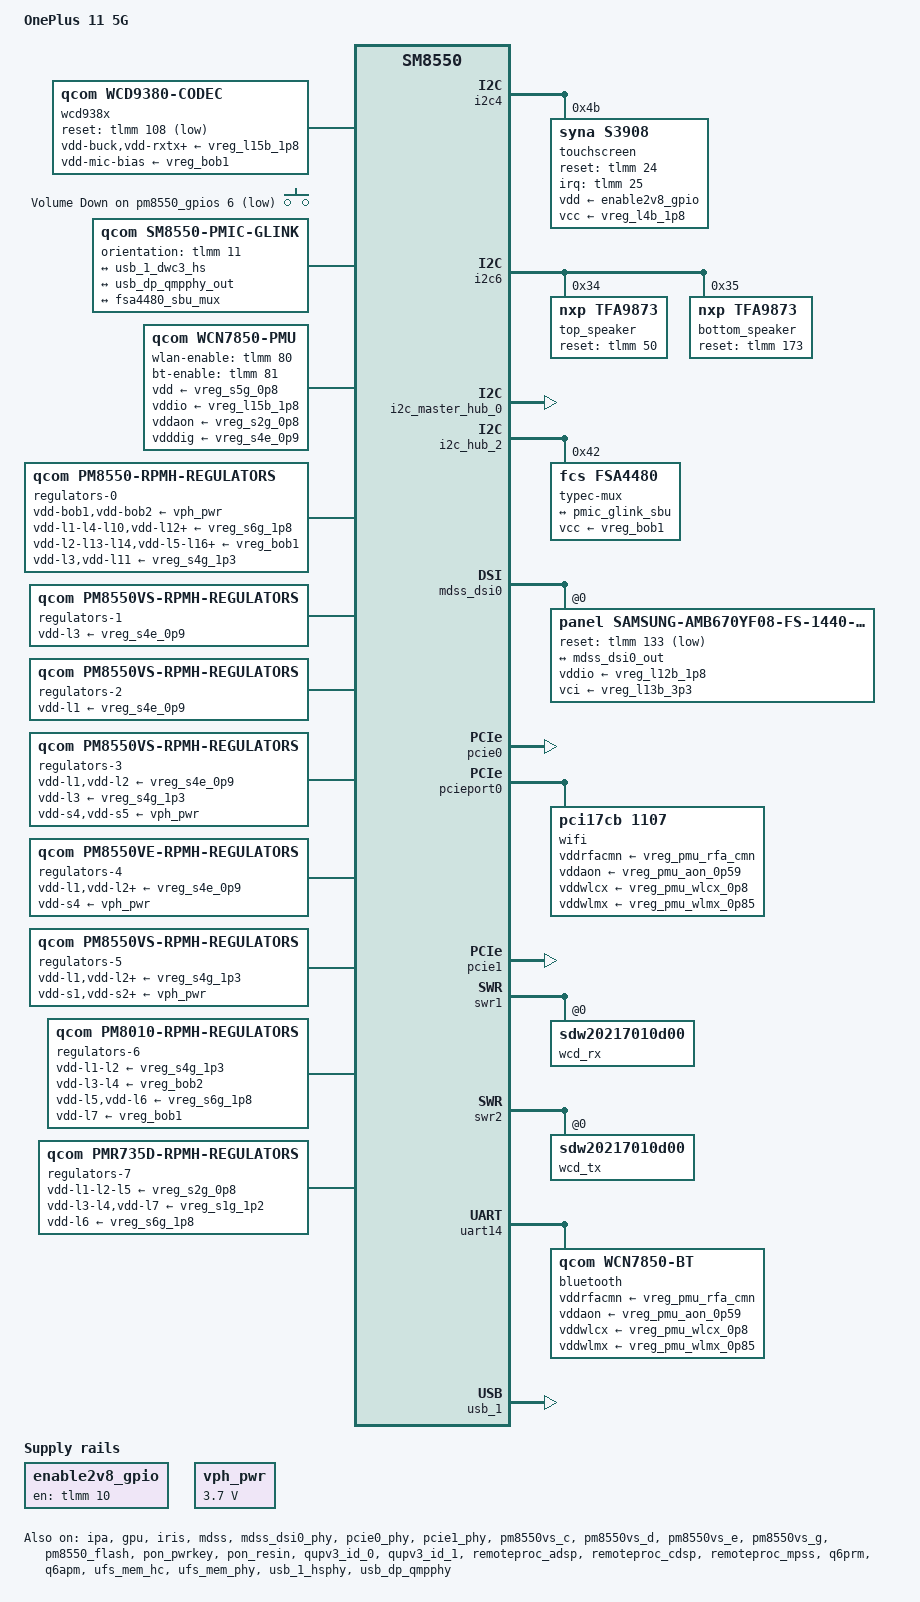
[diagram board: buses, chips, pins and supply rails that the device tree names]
// SPDX-License-Identifier: BSD-3-Clause
/*
 * Copyright (c) 2024, Degdag Mohamed <degdagmohamed@gmail.com>
 */

/dts-v1/;

#include <dt-bindings/regulator/qcom,rpmh-regulator.h>
#include <dt-bindings/interconnect/qcom,icc.h>
#include <dt-bindings/leds/common.h>
#include <dt-bindings/arm/qcom,ids.h>
#include <dt-bindings/usb/pd.h>
#include "sm8550.dtsi"
#include "pm8010.dtsi"
#include "pm8550.dtsi"
#include "pm8550b.dtsi"
#define PMK8550VE_SID 5
#include "pm8550ve.dtsi"
#include "pm8550vs.dtsi"
#include "pmk8550.dtsi"

/delete-node/ &reserved_memory;

/ {
	model = "OnePlus 11 5G";
	compatible = "oneplus,salami", "qcom,sm8550";
	chassis-type = "handset";
	qcom,msm-id = <0x207 0x20000 0x207 0x10000 0x218 0x20000 0x218 0x10000>;
	qcom,board-id = <0x10008 0>;

	aliases {
		serial0 = &uart7;
		serial1 = &uart14;
	};
	
	enable2v8_gpio: enable2v8_gpio-regulator {
		compatible = "regulator-fixed";
		regulator-name = "enable2v8_gpio";
		gpio = <&tlmm 10 GPIO_ACTIVE_HIGH>;
		enable-active-high;
		regulator-always-on;
		regulator-boot-on;
	};

	wcd938x: audio-codec {
		compatible = "qcom,wcd9380-codec";
		pinctrl-names = "default";
		pinctrl-0 = <&wcd_default>;
		qcom,micbias1-microvolt = <2750000>;
		qcom,micbias2-microvolt = <2750000>;
		qcom,micbias3-microvolt = <2750000>;
		qcom,micbias4-microvolt = <2750000>;
		qcom,mbhc-buttons-vthreshold-microvolt = <75000 150000 237000 500000 500000 500000 500000 500000>;
		qcom,mbhc-headset-vthreshold-microvolt = <1700000>;
		qcom,mbhc-headphone-vthreshold-microvolt = <50000>;
		qcom,rx-device = <&wcd_rx>;
		qcom,tx-device = <&wcd_tx>;
		reset-gpios = <&tlmm 108 GPIO_ACTIVE_LOW>;
		vdd-buck-supply = <&vreg_l15b_1p8>;
		vdd-rxtx-supply = <&vreg_l15b_1p8>;
		vdd-io-supply = <&vreg_l15b_1p8>;
		vdd-mic-bias-supply = <&vreg_bob1>;
		#sound-dai-cells = <1>;
	};
	
	chosen {
		#address-cells = <2>;
		#size-cells = <2>;
		ranges;
	};

	gpio-keys {
		compatible = "gpio-keys";

		pinctrl-0 = <&volume_down_n>;
		pinctrl-names = "default";

		key-volume-down {
			label = "Volume Down";
			linux,code = <KEY_VOLUMEDOWN>;
			gpios = <&pm8550_gpios 6 GPIO_ACTIVE_LOW>;
			debounce-interval = <15>;
			linux,can-disable;
			wakeup-source;
		};
	};

	pmic-glink {
		compatible = "qcom,sm8550-pmic-glink", "qcom,pmic-glink";
		#address-cells = <1>;
		#size-cells = <0>;
		orientation-gpios = <&tlmm 11 GPIO_ACTIVE_HIGH>;

		connector@0 {
			compatible = "usb-c-connector";
			reg = <0>;
			power-role = "dual";
			data-role = "dual";

			ports {
				#address-cells = <1>;
				#size-cells = <0>;

				port@0 {
					reg = <0>;

					pmic_glink_hs_in: endpoint {
						remote-endpoint = <&usb_1_dwc3_hs>;
					};
				};

				port@1 {
					reg = <1>;

					pmic_glink_ss_in: endpoint {
						remote-endpoint = <&usb_dp_qmpphy_out>;
					};
				};

				port@2 {
					reg = <2>;

					pmic_glink_sbu: endpoint {
						remote-endpoint = <&fsa4480_sbu_mux>;
					};
				};
			};
		};
	};
	
		reserved-memory {
		#address-cells = <2>;
		#size-cells = <2>;
		ranges;
		
		hyp_mem: hyp-region@80000000 {
			no-map;
			reg = <0x00 0x80000000 0x00 0xa00000>;
		};

		cpusys_vm_mem: cpusys-vm-region@80a00000 {
			no-map;
			reg = <0x00 0x80a00000 0x00 0x400000>;
		};

		/* --- ADD THESE THREE HYP LOG WINDOWS HERE --- */
		hyp_tags_mem: hyp-tags-region@80e00000 {
			no-map;
			reg = <0 0x80e00000 0 0x3d0000>;
		};

		hyp_tags_reserved_mem: hyp-tags-reserved-region@811d0000 {
			no-map;
			reg = <0 0x811d0000 0 0x30000>;
		};

		global_sync_mem: global-sync-region@82600000 {
			no-map;
			reg = <0 0x82600000 0 0x100000>;
		};

		xbl_dt_log_merged_mem: xbl-dt-log-merged-region@81a00000 {
			no-map;
			reg = <0x00 0x81a00000 0x00 0x260000>;
		};

		aop_cmd_db_mem: aop-cmd-db-region@81c60000 {
			compatible = "qcom,cmd-db";
			no-map;
			reg = <0x00 0x81c60000 0x00 0x20000>;
		};

		aop_config_merged_mem: aop-config-merged-region@81c80000 {
			no-map;
			reg = <0x00 0x81c80000 0x00 0x74000>;
		};
		
		chipinfo_region: chipinfo-region@81cf4000 {
			no-map;
			reg = <0x00 0x81cf4000 0x00 0x1000>;
		};

		smem: smem@81d00000 {
			no-map;
			reg = <0x00 0x81d00000 0x00 0x200000>;
			hwlocks = <&tcsr_mutex 3>;
			compatible = "qcom,smem";
		};

		adsp_mhi_mem: adsp-mhi-region@81f00000 {
			no-map;
			reg = <0x00 0x81f00000 0x00 0x20000>;
		};
		
		tz_stat_region: tz-stat-region@82700000 {
			no-map;
			reg = <0x00 0x82700000 0x00 0x100000>;
		};
		
		mpss_mem: mpss-region@8a800000 {
			no-map;
			reg = <0x00 0x8a800000 0x00 0x10800000>;
		};

		q6_mpss_dtb_mem: q6-mpss-dtb-region@9b000000 {
			no-map;
			reg = <0x00 0x9b000000 0x00 0x80000>;
		};

		ipa_fw_mem: ipa-fw-region@9b080000 {
			no-map;
			reg = <0x00 0x9b080000 0x00 0x10000>;
		};

		ipa_gsi_mem: ipa-gsi-region@9b090000 {
			no-map;
			reg = <0x00 0x9b090000 0x00 0xa000>;
		};

		gpu_micro_code_mem: gpu-micro-code-region@9b09a000 {
			no-map;
			reg = <0x00 0x9b09a000 0x00 0x2000>;
		};

		/* --- ADD THESE TWO SECURE MODEM INTERFACES HERE --- */
		spu_tz_shared_mem: spu-tz-shared-region@9b280000 {
			no-map;
			reg = <0 0x9b280000 0 0x60000>;
		};

		spu_modem_shared_mem: spu-modem-shared-region@9b2e0000 {
			no-map;
			reg = <0 0x9b2e0000 0 0x20000>;
		};
		
		video_mem: video-region@9bb00000 {
			no-map;
			reg = <0x00 0x9bb00000 0x00 0x700000>;
		};

		cdsp_mem: cdsp-region@9c900000 {
			no-map;
			reg = <0x00 0x9c900000 0x00 0x2000000>;
		};

		q6_cdsp_dtb_mem: q6-cdsp-dtb-region@9e900000 {
			no-map;
			reg = <0x00 0x9e900000 0x00 0x80000>;
		};

		q6_adsp_dtb_mem: q6-adsp-dtb-region@9e980000 {
			no-map;
			reg = <0x00 0x9e980000 0x00 0x80000>;
		};

		adspslpi_mem: adspslpi-region@9ea00000 {
			no-map;
			reg = <0x00 0x9ea00000 0x00 0x4880000>;
		};

		mpss_dsm_mem: mpss-dsm-region@d4d00000 {
			no-map;
			reg = <0x00 0xd4d00000 0x00 0x3300000>;
		};

		xbl_sc_mem: xbl-sc-region@d8100000 {
			no-map;
			reg = <0x00 0xd8100000 0x00 0x40000>;
		};

		cpucp_fw_mem: cpucp-fw-region@d8140000 {
			no-map;
			reg = <0x00 0xd8140000 0x00 0x1c0000>;
		};

		qtee_mem: qtee-region@d8300000 {
			no-map;
			reg = <0x00 0xd8300000 0x00 0x500000>;
		};

		hwfence_shbuf: hwfence-shbuf-region@e6440000 {
			no-map;
			reg = <0x00 0xe6440000 0x00 0x2dd000>;
		};

		rmtfs_mem: rmtfs-region@e8100000 {
			compatible = "qcom,rmtfs-mem";
			reg = <0x0 0xe8100000 0x0 0x280000>;
			no-map;

			qcom,client-id = <1>;
			qcom,vmid = <QCOM_SCM_VMID_MSS_MSA>;
		};
	};

	
	sound {
		compatible = "qcom,sm8550-sndcard", "qcom,sm8450-sndcard";
		pinctrl-0 = <&i2s1_default>;
		pinctrl-names = "default";

		clocks = <&q6prmcc LPASS_CLK_ID_SEC_MI2S_IBIT LPASS_CLK_ATTRIBUTE_COUPLE_NO>;
		assigned-clocks = <&q6prmcc LPASS_CLK_ID_SEC_MI2S_IBIT LPASS_CLK_ATTRIBUTE_COUPLE_NO>;
		assigned-clock-rates = <1536000>;

		model = "astonsnd";
		audio-routing = "IN1_HPHL", "HPHL_OUT",
				"IN2_HPHR", "HPHR_OUT",
				"AMIC1", "MIC BIAS1",
				"AMIC2", "MIC BIAS2",
				"AMIC3", "MIC BIAS3",
				"AMIC4", "MIC BIAS4",
				"AMIC5", "MIC BIAS3",
				"TX SWR_INPUT0", "ADC1_OUTPUT",
				"TX SWR_INPUT1", "ADC2_OUTPUT",
				"TX SWR_INPUT0", "ADC3_OUTPUT",
				"TX SWR_INPUT1", "ADC4_OUTPUT";
		wcd-playback-dai-link {
			link-name = "WCD Playback";
			cpu {
				sound-dai = <&q6apmbedai RX_CODEC_DMA_RX_0>;
			};
			codec {
				sound-dai = <&wcd938x 0>, <&swr1 0>, <&lpass_rxmacro 0>;
			};
			platform {
				sound-dai = <&q6apm>;
			};
		};

		wcd-capture-dai-link {
			link-name = "WCD Capture";
			cpu {
				sound-dai = <&q6apmbedai TX_CODEC_DMA_TX_3>;
			};
			codec {
				sound-dai = <&wcd938x 1>, <&swr2 0>, <&lpass_txmacro 0>;
			};
			platform {
				sound-dai = <&q6apm>;
			};
		};

		secondary-i2s-dai-link {
			link-name = "Secondary MI2S Playback";

			cpu {
				sound-dai = <&q6apmbedai SECONDARY_MI2S_RX>;
			};

			platform {
				sound-dai = <&q6apm>;
			};

			codec {
				sound-dai = <&top_speaker>, <&bottom_speaker>;
			};
		};
	};
	
	vph_pwr: vph-pwr-regulator {
		compatible = "regulator-fixed";
		regulator-name = "vph_pwr";
		regulator-min-microvolt = <3700000>;
		regulator-max-microvolt = <3700000>;

		regulator-always-on;
		regulator-boot-on;
	};
	
	wcn7850-pmu {
		compatible = "qcom,wcn7850-pmu";

		pinctrl-names = "default";
		pinctrl-0 = <&wlan_en>, <&bt_default>, <&pmk8550_sleep_clk>;

		wlan-enable-gpios = <&tlmm 80 GPIO_ACTIVE_HIGH>;
		bt-enable-gpios = <&tlmm 81 GPIO_ACTIVE_HIGH>;

		vdd-supply = <&vreg_s5g_0p8>;
		vddio-supply = <&vreg_l15b_1p8>; 
		vddaon-supply = <&vreg_s2g_0p8>;
		vdddig-supply = <&vreg_s4e_0p9>;
		vddrfa1p2-supply = <&vreg_s4g_1p3>;
		vddrfa1p8-supply = <&vreg_s6g_1p8>;

		regulators {
			vreg_pmu_rfa_cmn: ldo0 {
				regulator-name = "vreg_pmu_rfa_cmn";
			};

			vreg_pmu_aon_0p59: ldo1 {
				regulator-name = "vreg_pmu_aon_0p59";
			};

			vreg_pmu_wlcx_0p8: ldo2 {
				regulator-name = "vreg_pmu_wlcx_0p8";
			};

			vreg_pmu_wlmx_0p85: ldo3 {
				regulator-name = "vreg_pmu_wlmx_0p85";
			};

			vreg_pmu_btcmx_0p85: ldo4 {
				regulator-name = "vreg_pmu_btcmx_0p85";
			};

			vreg_pmu_rfa_0p8: ldo5 {
				regulator-name = "vreg_pmu_rfa_0p8";
			};

			vreg_pmu_rfa_1p2: ldo6 {
				regulator-name = "vreg_pmu_rfa_1p2";
			};

			vreg_pmu_rfa_1p8: ldo7 {
				regulator-name = "vreg_pmu_rfa_1p8";
			};

			vreg_pmu_pcie_0p9: ldo8 {
				regulator-name = "vreg_pmu_pcie_0p9";
			};

			vreg_pmu_pcie_1p8: ldo9 {
				regulator-name = "vreg_pmu_pcie_1p8";
			};
		};
	};
};

&apps_rsc {
	regulators-0 {
		compatible = "qcom,pm8550-rpmh-regulators";
		qcom,pmic-id = "b";

		vdd-bob1-supply = <&vph_pwr>;
		vdd-bob2-supply = <&vph_pwr>;
		vdd-l1-l4-l10-supply = <&vreg_s6g_1p8>;
		vdd-l2-l13-l14-supply = <&vreg_bob1>;
		vdd-l3-supply = <&vreg_s4g_1p3>;
		vdd-l5-l16-supply = <&vreg_bob1>;
		vdd-l6-l7-supply = <&vreg_bob1>;
		vdd-l8-l9-supply = <&vreg_bob1>;
		vdd-l11-supply = <&vreg_s4g_1p3>;
		vdd-l12-supply = <&vreg_s6g_1p8>;
		vdd-l15-supply = <&vreg_s6g_1p8>;
		vdd-l17-supply = <&vreg_bob2>;

		vreg_bob1: bob1 {
			regulator-name = "vreg_bob1";
			regulator-min-microvolt = <3008000>;
			regulator-max-microvolt = <3960000>;
			regulator-initial-mode = <RPMH_REGULATOR_MODE_HPM>;
		};

		vreg_bob2: bob2 {
			regulator-name = "vreg_bob2";
			regulator-min-microvolt = <2704000>;
			regulator-max-microvolt = <3008000>;
			regulator-initial-mode = <RPMH_REGULATOR_MODE_HPM>;
		};

		vreg_l1b_1p8: ldo1 {
			regulator-name = "vreg_l1b_1p8";
			regulator-min-microvolt = <1800000>;
			regulator-max-microvolt = <1800000>;
			regulator-initial-mode = <RPMH_REGULATOR_MODE_HPM>;
		};

		vreg_l2b_3p0: ldo2 {
			regulator-name = "vreg_l2b_3p0";
			regulator-min-microvolt = <3008000>;
			regulator-max-microvolt = <3008000>;
			regulator-initial-mode = <RPMH_REGULATOR_MODE_HPM>;
		};

		vreg_l4b_1p8: ldo4 {
			regulator-name = "vreg_l4b_1p8";
			regulator-min-microvolt = <1800000>;
			regulator-max-microvolt = <1800000>;
			regulator-initial-mode = <RPMH_REGULATOR_MODE_HPM>;
		};

		vreg_l5b_3p1: ldo5 {
			regulator-name = "vreg_l5b_3p1";
			regulator-min-microvolt = <3104000>;
			regulator-max-microvolt = <3104000>;
			regulator-initial-mode = <RPMH_REGULATOR_MODE_HPM>;
		};

		vreg_l6b_1p8: ldo6 {
			regulator-name = "vreg_l6b_1p8";
			regulator-min-microvolt = <1800000>;
			regulator-max-microvolt = <3008000>;
			regulator-initial-mode = <RPMH_REGULATOR_MODE_HPM>;
		};

		vreg_l7b_1p8: ldo7 {
			regulator-name = "vreg_l7b_1p8";
			regulator-min-microvolt = <1800000>;
			regulator-max-microvolt = <3008000>;
			regulator-initial-mode = <RPMH_REGULATOR_MODE_HPM>;
		};

		vreg_l8b_1p8: ldo8 {
			regulator-name = "vreg_l8b_1p8";
			regulator-min-microvolt = <1800000>;
			regulator-max-microvolt = <1800000>;
			regulator-initial-mode = <RPMH_REGULATOR_MODE_HPM>;
			regulator-always-on;
			regulator-boot-on;
		};

		vreg_l9b_3p3: ldo9 {
			regulator-name = "vreg_l9b_3p3";
			regulator-min-microvolt = <2960000>;
			regulator-max-microvolt = <3008000>;
			regulator-initial-mode = <RPMH_REGULATOR_MODE_HPM>;
		};

		vreg_l10b_1p8: ldo10 {
			regulator-name = "vreg_l10b_1p8";
			regulator-min-microvolt = <1800000>;
			regulator-max-microvolt = <1800000>;
			regulator-initial-mode = <RPMH_REGULATOR_MODE_HPM>;
			regulator-always-on;
		};

		vreg_l11b_1p2: ldo11 {
			regulator-name = "vreg_l11b_1p2";
			regulator-min-microvolt = <1200000>;
			regulator-max-microvolt = <1504000>;
			regulator-initial-mode = <RPMH_REGULATOR_MODE_HPM>;
		};

		vreg_l12b_1p8: ldo12 {
			regulator-name = "vreg_l12b_1p8";
			regulator-min-microvolt = <1800000>;
			regulator-max-microvolt = <1800000>;
			regulator-initial-mode = <RPMH_REGULATOR_MODE_HPM>;
		};

		vreg_l13b_3p3: ldo13 {
			regulator-name = "vreg_l13b_3p3";
			regulator-min-microvolt = <3000000>;
			regulator-max-microvolt = <3200000>;
			regulator-initial-mode = <RPMH_REGULATOR_MODE_HPM>;
		};

		vreg_l14b_3p2: ldo14 {
			regulator-name = "vreg_l14b_3p2";
			regulator-min-microvolt = <2800000>;
			regulator-max-microvolt = <3200000>;
			regulator-initial-mode = <RPMH_REGULATOR_MODE_HPM>;
		};
		
		vreg_l15b_1p8: ldo15 {
			regulator-name = "vreg_l15b_1p8";
			regulator-min-microvolt = <1800000>;
			regulator-max-microvolt = <1800000>;
			regulator-initial-mode = <RPMH_REGULATOR_MODE_HPM>;
		};

		vreg_l16b_2p8: ldo16 {
			regulator-name = "vreg_l16b_2p8";
			regulator-min-microvolt = <2800000>;
			regulator-max-microvolt = <2800000>;
			regulator-initial-mode = <RPMH_REGULATOR_MODE_HPM>;
		};

		vreg_l17b_2p5: ldo17 {
			regulator-name = "vreg_l17b_2p5";
			regulator-min-microvolt = <2504000>;
			regulator-max-microvolt = <2504000>;
			regulator-initial-mode = <RPMH_REGULATOR_MODE_HPM>;
		};
	};

	regulators-1 {
		compatible = "qcom,pm8550vs-rpmh-regulators";
		qcom,pmic-id = "c";

		vdd-l3-supply = <&vreg_s4e_0p9>;
		
		
		vreg_l1c_0p91: ldo1 {
			regulator-name = "vreg_l1c_0p9";
			regulator-min-microvolt = <1200000>;
			regulator-max-microvolt = <1200000>;
			regulator-initial-mode = <RPMH_REGULATOR_MODE_HPM>;
		};

		vreg_l3c_0p91: ldo3 {
			regulator-name = "vreg_l3c_0p9";
			regulator-min-microvolt = <880000>;
			regulator-max-microvolt = <912000>;
			regulator-initial-mode = <RPMH_REGULATOR_MODE_HPM>;
		};
	};

	regulators-2 {
		compatible = "qcom,pm8550vs-rpmh-regulators";
		qcom,pmic-id = "d";

		vdd-l1-supply = <&vreg_s4e_0p9>;

		vreg_l1d_0p88: ldo1 {
			regulator-name = "vreg_l1d_0p88";
			regulator-min-microvolt = <880000>;
			regulator-max-microvolt = <920000>;
			regulator-initial-mode = <RPMH_REGULATOR_MODE_HPM>;
		};
	};

	regulators-3 {
		compatible = "qcom,pm8550vs-rpmh-regulators";
		qcom,pmic-id = "e";

		vdd-l1-supply = <&vreg_s4e_0p9>;
		vdd-l2-supply = <&vreg_s4e_0p9>;
		vdd-l3-supply = <&vreg_s4g_1p3>;
		vdd-s4-supply = <&vph_pwr>;
		vdd-s5-supply = <&vph_pwr>;

		vreg_s4e_0p9: smps4 {
			regulator-name = "vreg_s4e_0p9";
			regulator-min-microvolt = <904000>;
			regulator-max-microvolt = <984000>;
			regulator-initial-mode = <RPMH_REGULATOR_MODE_HPM>;
		};

		vreg_s5e_1p1: smps5 {
			regulator-name = "vreg_s5e_1p1";
			regulator-min-microvolt = <1008000>;
			regulator-max-microvolt = <1120000>;
			regulator-initial-mode = <RPMH_REGULATOR_MODE_HPM>;
		};

		vreg_l1e_0p88: ldo1 {
			regulator-name = "vreg_l1e_0p88";
			regulator-min-microvolt = <880000>;
			regulator-max-microvolt = <912000>;
			regulator-initial-mode = <RPMH_REGULATOR_MODE_HPM>;
		};

		vreg_l2e_0p9: ldo2 {
			regulator-name = "vreg_l2e_0p9";
			regulator-min-microvolt = <864000>;
			regulator-max-microvolt = <970000>;
			regulator-initial-mode = <RPMH_REGULATOR_MODE_HPM>;
		};

		vreg_l3e_1p2: ldo3 {
			regulator-name = "vreg_l3e_1p2";
			regulator-min-microvolt = <1200000>;
			regulator-max-microvolt = <1200000>;
			regulator-initial-mode = <RPMH_REGULATOR_MODE_HPM>;
		};
	};

	regulators-4 {
		compatible = "qcom,pm8550ve-rpmh-regulators";
		qcom,pmic-id = "f";

		vdd-l1-supply = <&vreg_s4e_0p9>;
		vdd-l2-supply = <&vreg_s4e_0p9>;
		vdd-l3-supply = <&vreg_s4e_0p9>;
		vdd-s4-supply = <&vph_pwr>;

		vreg_s4f_0p5: smps4 {
			regulator-name = "vreg_s4f_0p5";
			regulator-min-microvolt = <300000>;
			regulator-max-microvolt = <700000>;
			regulator-initial-mode = <RPMH_REGULATOR_MODE_HPM>;
		};

		vreg_l1f_0p9: ldo1 {
			regulator-name = "vreg_l1f_0p9";
			regulator-min-microvolt = <880000>;
			regulator-max-microvolt = <912000>;
			regulator-initial-mode = <RPMH_REGULATOR_MODE_HPM>;
		};

		vreg_l2f_0p88: ldo2 {
			regulator-name = "vreg_l2f_0p88";
			regulator-min-microvolt = <880000>;
			regulator-max-microvolt = <912000>;
			regulator-initial-mode = <RPMH_REGULATOR_MODE_HPM>;
		};

		vreg_l3f_0p91: ldo3 {
			regulator-name = "vreg_l3f_0p91";
			regulator-min-microvolt = <880000>;
			regulator-max-microvolt = <912000>;
			regulator-initial-mode = <RPMH_REGULATOR_MODE_HPM>;
		};
	};

	regulators-5 {
		compatible = "qcom,pm8550vs-rpmh-regulators";
		qcom,pmic-id = "g";

		vdd-l1-supply = <&vreg_s4g_1p3>;
		vdd-l2-supply = <&vreg_s4g_1p3>;
		vdd-l3-supply = <&vreg_s4g_1p3>;
		vdd-s1-supply = <&vph_pwr>;
		vdd-s2-supply = <&vph_pwr>;
		vdd-s3-supply = <&vph_pwr>;
		vdd-s4-supply = <&vph_pwr>;
		vdd-s5-supply = <&vph_pwr>;
		vdd-s6-supply = <&vph_pwr>;

		vreg_s1g_1p2: smps1 {
			regulator-name = "vreg_s1g_1p2";
			regulator-min-microvolt = <1200000>;
			regulator-max-microvolt = <1300000>;
			regulator-initial-mode = <RPMH_REGULATOR_MODE_HPM>;
		};

		vreg_s2g_0p8: smps2 {
			regulator-name = "vreg_s2g_0p8";
			regulator-min-microvolt = <500000>;
			regulator-max-microvolt = <1036000>;
			regulator-initial-mode = <RPMH_REGULATOR_MODE_HPM>;
		};

		vreg_s4g_1p3: smps4 {
			regulator-name = "vreg_s4g_1p3";
			regulator-min-microvolt = <1200000>;
			regulator-max-microvolt = <1352000>;
			regulator-initial-mode = <RPMH_REGULATOR_MODE_HPM>;
		};

		vreg_s5g_0p8: smps5 {
			regulator-name = "vreg_s5g_0p8";
			regulator-min-microvolt = <500000>;
			regulator-max-microvolt = <1004000>;
			regulator-initial-mode = <RPMH_REGULATOR_MODE_HPM>;
		};

		vreg_s6g_1p8: smps6 {
			regulator-name = "vreg_s6g_1p8";
			regulator-min-microvolt = <1800000>;
			regulator-max-microvolt = <2000000>;
			regulator-initial-mode = <RPMH_REGULATOR_MODE_HPM>;
		};

		vreg_l1g_1p2: ldo1 {
			regulator-name = "vreg_l1g_1p2";
			regulator-min-microvolt = <1144000>;
			regulator-max-microvolt = <1256000>;
			regulator-initial-mode = <RPMH_REGULATOR_MODE_HPM>;
		};

		vreg_l2g_1p2: ldo2 {
			regulator-name = "vreg_l2g_1p2";
			regulator-min-microvolt = <1050000>;
			regulator-max-microvolt = <1200000>;
			regulator-initial-mode = <RPMH_REGULATOR_MODE_HPM>;
		};

		vreg_l3g_1p2: ldo3 {
			regulator-name = "vreg_l3g_1p2";
			regulator-min-microvolt = <1200000>;
			regulator-max-microvolt = <1200000>;
			regulator-initial-mode = <RPMH_REGULATOR_MODE_HPM>;
		};
	};

	regulators-6 {
		compatible = "qcom,pm8010-rpmh-regulators";
		qcom,pmic-id = "m";

		vdd-l1-l2-supply = <&vreg_s4g_1p3>;
		vdd-l3-l4-supply = <&vreg_bob2>;
		vdd-l5-supply = <&vreg_s6g_1p8>;
		vdd-l6-supply = <&vreg_s6g_1p8>;
		vdd-l7-supply = <&vreg_bob1>;

		vreg_l1m_1p2: ldo1 {
			regulator-name = "vreg_l1m_1p2";
			regulator-min-microvolt = <1200000>;
			regulator-max-microvolt = <1200000>;
			regulator-initial-mode = <RPMH_REGULATOR_MODE_HPM>;
		};

		vreg_l2m_1p08: ldo2 {
			regulator-name = "vreg_l2m_1p08";
			regulator-min-microvolt = <1200000>;
			regulator-max-microvolt = <1200000>;
			regulator-initial-mode = <RPMH_REGULATOR_MODE_HPM>;
			regulator-always-on;
		};

		vreg_l3m_2p8: ldo3 {
			regulator-name = "vreg_l3m_2p8";
			regulator-min-microvolt = <2200000>;
			regulator-max-microvolt = <3304000>;
			regulator-initial-mode = <RPMH_REGULATOR_MODE_HPM>;
			
		};

		vreg_l4m_2p8: ldo4 {
			regulator-name = "vreg_l4m_2p8";
			regulator-min-microvolt = <1800000>;
			regulator-max-microvolt = <3304000>;
			regulator-initial-mode = <RPMH_REGULATOR_MODE_HPM>;
		};

		vreg_l5m_1p8: ldo5 {
			regulator-name = "vreg_l5m_1p8";
			regulator-min-microvolt = <1800000>;
			regulator-max-microvolt = <1800000>;
			regulator-initial-mode = <RPMH_REGULATOR_MODE_HPM>;
		};

		vreg_l6m_2p8: ldo6 {
			regulator-name = "vreg_l6m_2p8";
			regulator-min-microvolt = <2848000>;
			regulator-max-microvolt = <2848000>;
			regulator-initial-mode = <RPMH_REGULATOR_MODE_HPM>;
			regulator-always-on;
		};

		vreg_l7m_2p85: ldo7 {
			regulator-name = "vreg_l7m_2p85";
			regulator-min-microvolt = <1800000>;
			regulator-max-microvolt = <3152000>;
			regulator-initial-mode = <RPMH_REGULATOR_MODE_HPM>;
		};
	};
	
	regulators-7 {
		compatible = "qcom,pmr735d-rpmh-regulators";
		qcom,pmic-id = "k";

		vdd-l1-l2-l5-supply = <&vreg_s2g_0p8>;
		vdd-l3-l4-supply = <&vreg_s1g_1p2>;
		vdd-l6-supply  = <&vreg_s6g_1p8>;
		vdd-l7-supply = <&vreg_s1g_1p2>;

		vreg_l1k_0p4: ldo1 {
			regulator-name = "vreg_l1k_0p4";
			regulator-min-microvolt = <400000>;
			regulator-max-microvolt = <900000>;
			regulator-initial-mode = <RPMH_REGULATOR_MODE_HPM>;
		};

		vreg_l2k_0p5: ldo2 {
			regulator-name = "vreg_l2k_0p5";
			regulator-min-microvolt = <500000>;
			regulator-max-microvolt = <900000>;
			regulator-initial-mode = <RPMH_REGULATOR_MODE_HPM>;
		};

		vreg_l3k_0p88: ldo3 {
			regulator-name = "vreg_l3k_0p88";
			regulator-min-microvolt = <880000>;
			regulator-max-microvolt = <912000>;
			regulator-initial-mode = <RPMH_REGULATOR_MODE_HPM>;
		};

		vreg_l4k_1p2: ldo4 {
			regulator-name = "vreg_l4k_1p2";
			regulator-min-microvolt = <1200000>;
			regulator-max-microvolt = <1200000>;
			regulator-initial-mode = <RPMH_REGULATOR_MODE_HPM>;
		};

		vreg_l5k_0p8: ldo5 {
			regulator-name = "vreg_l5k_0p8";
			regulator-min-microvolt = <800000>;
			regulator-max-microvolt = <800000>;
			regulator-initial-mode = <RPMH_REGULATOR_MODE_HPM>;
		};

		vreg_l6k_1p77: ldo6 {
			regulator-name = "vreg_l6k_1p77";
			regulator-min-microvolt = <1776000>;
			regulator-max-microvolt = <1900000>;
			regulator-initial-mode = <RPMH_REGULATOR_MODE_HPM>;
		};

		vreg_l7k_1p2: ldo7 {
			regulator-name = "vreg_l7k_1p2";
			regulator-min-microvolt = <1200000>;
			regulator-max-microvolt = <1200000>;
			regulator-initial-mode = <RPMH_REGULATOR_MODE_HPM>;
		};
	};
};

&ipa {
	qcom,gsi-loader = "self";
	memory-region = <&ipa_fw_mem>;
	firmware-name = "qcom/sm8550/salami/ipa_fws.mbn";
	status = "okay";
};

&gpi_dma1 {
	status = "okay";
};

&gpi_dma2 {
	status = "okay";
};

&gpu {
	status = "okay";
};

&gpu_zap_shader {
	firmware-name = "qcom/sm8550/salami/a740_zap.mbn";
};

/* Workaround: cpu0's WFI-based idle state (little_cpu_sleep_0) has exit
 * latency too high to service GMU IRQ/SPMI responses in time, causing
 * intermittent "Timeout waiting for GMU OOB set GPU_SET" / HFI_H2F_MSG
 * timeouts and GPU hangs. See narmstrong/mntirc IRC discussion on
 * qcs8550/sm8550 mainline bringup. Only cpu0 needs this; cpu1-cpu3 keep
 * the shared idle state via their own cpu_pd1/cpu_pd2/cpu_pd3 nodes.
 */
&cpu_pd0 {
	/delete-property/ domain-idle-states;
};

&i2c0 {
	status = "disabled";
	nfc: sn-nci@28 {
		compatible = "qcom,sn-nci", "nxp,nxp-nci-i2c";
		status = "disabled";
		reg = <0x28>;
		qcom,sn-irq = <&tlmm 55 GPIO_ACTIVE_HIGH>;
		enable-gpios = <&tlmm 30 GPIO_ACTIVE_HIGH>;
		qcom,sn-clkreq = <&tlmm 31 GPIO_ACTIVE_HIGH>;
		interrupt-parent = <&tlmm>;
		interrupts = <55 0>;
		interrupt-names = "nfc_irq";
		pinctrl-names = "default", "sleep";
		pinctrl-0 = <&nfc_int_active &nfc_enable_active &nfc_clk_req_active>;
		pinctrl-1 = <&nfc_int_suspend &nfc_enable_suspend &nfc_clk_req_suspend>;
	};
};

&i2c4 {
     status = "okay";

     touchscreen@4b {
        compatible = "syna,s3908";
        reg = <0x4b>;
        status = "okay";

        interrupts-extended = <&tlmm 25 0x2008>;

        reset-gpios = <&tlmm 24 GPIO_ACTIVE_HIGH>;
        
        pinctrl-names = "default";
		pinctrl-0 = <&ts_int_active &ts_reset_active>;

        vdd-supply = <&enable2v8_gpio>;
        vcc-supply = <&vreg_l4b_1p8>;
        vdd_volt = <3008000>;
        
        Panel_Max_X = <1440>;
        Panel_Max_Y = <3216>;

	max-objects = <10>;
      };
};

&i2c6 {
	status = "okay";

	top_speaker: codec@34 {
		reg = <0x34>;
		compatible = "nxp,tfa9873";

		reset-gpio = <&tlmm 50 GPIO_ACTIVE_HIGH>;

		#sound-dai-cells = <0>;
	};

	bottom_speaker: codec@35 {
		reg = <0x35>;
		compatible = "nxp,tfa9873";

		reset-gpio = <&tlmm 173 GPIO_ACTIVE_HIGH>;
		is_second_channel;

		#sound-dai-cells = <0>;
	};
};

&i2c_master_hub_0 {
	status = "okay";
};

&i2c_hub_2 {
	status = "okay";

	typec-mux@42 {
		compatible = "fcs,fsa4480";
		reg = <0x42>;

		vcc-supply = <&vreg_bob1>;

		mode-switch;
		orientation-switch;

		port {
			fsa4480_sbu_mux: endpoint {
				remote-endpoint = <&pmic_glink_sbu>;
			};
		};
	};
};

&iris {
	status = "okay";

	firmware-name = "qcom/sm8550/salami/vpu30_4v.mbn";
};

&mdss {
	status = "okay";
};

&mdss_dsi0 {
	vdda-supply = <&vreg_l3e_1p2>;
	status = "okay";
	
	panel@0 {
		compatible = "panel,samsung-amb670yf08-fs-1440-3216-dsc";
		reg = <0>;
		
		pinctrl-names = "default", "sleep";
		pinctrl-0 = <&sde_dsi_active>, <&sde_te_active>;
		pinctrl-1 = <&sde_dsi_suspend>, <&sde_te_suspend>;

		vddio-supply = <&vreg_l12b_1p8>;
		vci-supply = <&vreg_l13b_3p3>;
		
		reset-gpios = <&tlmm 133 GPIO_ACTIVE_LOW>;

		port {
			panel_in: endpoint {
				remote-endpoint = <&mdss_dsi0_out>;
			};
		};
	};
};

&mdss_dsi0_out {
	status = "okay";
	data-lanes = <0 1 2 3>;
	remote-endpoint = <&panel_in>;
};

&mdss_dsi0_phy {
	vdds-supply = <&vreg_l1e_0p88>;
	status = "okay";
};

&pcie0 {
	wake-gpios = <&tlmm 96 GPIO_ACTIVE_HIGH>;
	perst-gpios = <&tlmm 94 GPIO_ACTIVE_LOW>;

	pinctrl-names = "default";
	pinctrl-0 = <&pcie0_default_state>;

	status = "okay";
};

&pcieport0 {
	status = "okay";
	
	wifi@0 {
		compatible = "pci17cb,1107";
		reg = <0x10000 0x0 0x0 0x0 0x0>;

		vddrfacmn-supply = <&vreg_pmu_rfa_cmn>;
		vddaon-supply = <&vreg_pmu_aon_0p59>;
		vddwlcx-supply = <&vreg_pmu_wlcx_0p8>;
		vddwlmx-supply = <&vreg_pmu_wlmx_0p85>;
		vddrfa0p8-supply = <&vreg_pmu_rfa_0p8>;
		vddrfa1p2-supply = <&vreg_pmu_rfa_1p2>;
		vddrfa1p8-supply = <&vreg_pmu_rfa_1p8>;
		vddpcie0p9-supply = <&vreg_pmu_pcie_0p9>;
		vddpcie1p8-supply = <&vreg_pmu_pcie_1p8>;
		status = "okay";
	};
};

&pcie0_phy {
	vdda-phy-supply = <&vreg_l1e_0p88>;
	vdda-pll-supply = <&vreg_l3e_1p2>;

	status = "okay";
};

&pcie1 {
	wake-gpios = <&tlmm 99 GPIO_ACTIVE_HIGH>;
	perst-gpios = <&tlmm 97 GPIO_ACTIVE_LOW>;

	pinctrl-names = "default";
	pinctrl-0 = <&pcie1_default_state>;

	status = "okay";
};

&pcie1_phy {
	vdda-phy-supply = <&vreg_l3c_0p91>;
	vdda-pll-supply = <&vreg_l3e_1p2>;
	vdda-qref-supply = <&vreg_l1e_0p88>;

	status = "okay";
};

&pm8010_n {
	status = "disabled";
};


&pm8550vs_c {
	status = "okay";
};

&pm8550vs_d {
	status = "okay";
};

&pm8550vs_e {
	status = "okay";
};

&pm8550vs_g {
	status = "okay";
};


&pm8550_gpios {
	volume_down_n: volume-down-n-state {
		pins = "gpio6";
		function = "normal";
		power-source = <1>;
		bias-pull-up;
		input-enable;
	};
};

&pm8550b_eusb2_repeater {
	vdd18-supply = <&vreg_l15b_1p8>;
	vdd3-supply = <&vreg_l5b_3p1>;
};

&pm8550_flash {
	status = "okay";
	
	led-0 {
		function = LED_FUNCTION_FLASH;
		color = <LED_COLOR_ID_WHITE>;
		led-sources = <1>, <4>;
		led-max-microamp = <500000>;
		flash-max-microamp = <2000000>;
		flash-max-timeout-us = <1280000>;
		function-enumerator = <0>;
	};
};

&pmk8550_rtc {
	nvmem-cells = <&rtc_offset>;
	nvmem-cell-names = "offset";
};

&pmk8550_sdam_2 {
	rtc_offset: rtc-offset@bc {
		reg = <0xbc 0x4>;
	};
};

&pmk8550_gpios {
	pmk8550_sleep_clk: sleep-clk-state {
		pins = "gpio3";
		function = "func1";
		input-disable;
		output-enable;
		bias-disable;
		power-source = <0>;
	};
};

&pon_pwrkey {
        status = "okay";
	interrupts = <0x0 0x13 0x7 IRQ_TYPE_EDGE_BOTH>;
        linux,code = <KEY_POWER>;
};

&pon_resin {
	linux,code = <KEY_VOLUMEUP>;

	status = "okay";
};

&qupv3_id_0 {
	status = "okay";
};

&qupv3_id_1 {
	status = "okay";
};

&remoteproc_adsp {
	firmware-name = "qcom/sm8550/salami/adsp.mbn",
			"qcom/sm8550/salami/adsp_dtb.mbn";
	status = "okay";
};

&remoteproc_cdsp {
	firmware-name = "qcom/sm8550/salami/cdsp.mbn",
			"qcom/sm8550/salami/cdsp_dtb.mbn";
	status = "okay";
};




&remoteproc_mpss {
	firmware-name = "qcom/sm8550/salami/modem.mbn",
			"qcom/sm8550/salami/modem_dtb.mbn";
	status = "okay";
};

&swr1 {
	status = "okay";
	clocks = <&lpass_rxmacro>;
	clock-names = "iface";
	wcd_rx: codec@0,4 {
		compatible = "sdw20217010d00";
		reg = <0 4>;
		qcom,rx-port-mapping = <1 2 3 4 5>;
	};
};

&swr2 {
	status = "okay";
	clocks = <&lpass_txmacro>;
	clock-names = "iface";
	wcd_tx: codec@0,3 {
		compatible = "sdw20217010d00";
		reg = <0 3>;
		qcom,tx-port-mapping = <2 2 3 4>;
	};
};

&tlmm {
	gpio-reserved-ranges = <32 8>;

	sde_dsi_active: sde-dsi-active-state {
		pins = "gpio133";
		function = "gpio";
		drive-strength = <8>;
		bias-disable;
	};

	sde_dsi_suspend: sde-dsi-suspend-state {
		pins = "gpio133";
		function = "gpio";
		drive-strength = <2>;
		bias-pull-down;
	};
	
	sde_te_active: sde-te-active-state {
		pins = "gpio86";
		function = "mdp_vsync";
		drive-strength = <2>;
		bias-pull-down;
	};

	sde_te_suspend: sde-te-suspend-state {
		pins = "gpio86";
		function = "mdp_vsync";
		drive-strength = <2>;
		bias-pull-down;
	};
	
	bt_default: bt-default-state {
		bt-en-pins {
			pins = "gpio81";
			function = "gpio";
			drive-strength = <16>;
			bias-disable;
		};

		sw-ctrl-pins {
			pins = "gpio82";
			function = "gpio";
			bias-pull-down;
		};
	};
	
	ts_reset_active: ts_reset_active-state {
		pins = "gpio24";
		function = "gpio";
		bias-disable;
		output-low;
		drive-strength = <8>;
	};

	ts_int_active: ts_int_active-state {
		pins = "gpio25";
		function = "gpio";
		bias-pull-up;
		drive-strength = <8>;
		input-enable;
	};
	
	ts_reset_suspend: ts_reset_suspend-state {
		pins = "gpio24";
		function = "gpio";
		bias-pull-down;
		drive-strength = <2>;
	};

	ts_int_suspend: ts_int_suspend-state {
		pins = "gpio25";
		function = "gpio";
		bias-pull-down;
		drive-strength = <2>;
	};

	wlan_en: wlan-en-state {
		pins = "gpio80";
		function = "gpio";
		drive-strength = <8>;
		bias-pull-down;
	};

	qup_i2c8_data_clk: qup-i2c8-data-clk-state {
		scl-pins {
			pins = "gpio1";
			function = "qup2_se0_l1_mirb";
			drive-strength = <2>;
			bias-pull-up = <2200>;
		};

		sda-pins {
			pins = "gpio0";
			function = "qup2_se0_l0_mirb";
			drive-strength = <2>;
			bias-pull-up = <2200>;
		};
	};

	nfc_default: nfc-default-state {
		nfc_int_active: nfc_int_active-state {
			pins = "gpio55";
			function = "gpio";
			drive-strength = <2>;
			bias-pull-up;
		};
		nfc_enable_active: nfc_enable_active-state {
			pins = "gpio30";
			function = "gpio";
			drive-strength = <2>;
			bias-pull-up;
		};
		nfc_clk_req_active: nfc_clk_req_active-state {
			pins = "gpio31";
			function = "gpio";
			drive-strength = <2>;
			bias-pull-up;
		};
		nfc_int_suspend: nfc_int_suspend-state {
			pins = "gpio55";
			function = "gpio";
			drive-strength = <2>;
			bias-pull-up;
		};
		nfc_enable_suspend: nfc_enable_suspend-state {
			pins = "gpio30";
			function = "gpio";
			drive-strength = <2>;
			bias-disable;
		};
		nfc_clk_req_suspend: nfc_clk_req_suspend-state {
			pins = "gpio31";
			function = "gpio";
			drive-strength = <2>;
			bias-disable;
		};
	};
	
	wcd_default: wcd-reset-n-active-state {
		pins = "gpio108";
		function = "gpio";
		drive-strength = <16>;
		bias-disable;
		output-low;
	};
	
	i2s1_default: i2s1-default-state { 
		sck-pins { 
			pins = "gpio121"; 
			function = "i2s1_sck"; 
			drive-strength = <6>; 
			input-enable;
			bias-disable; 
		}; 
	 
		data0-pins { 
			pins = "gpio122"; 
			function = "i2s1_data0"; 
			drive-strength = <6>; 
			input-enable;
			bias-disable; 
		}; 
	 
		ws-pins { 
			pins = "gpio123"; 
			function = "i2s1_ws"; 
			drive-strength = <6>; 
			input-enable;
			bias-disable; 
		}; 
	 
		data1-pins { 
			pins = "gpio124"; 
			function = "i2s1_data1"; 
			drive-strength = <6>; 
			input-enable;
			bias-pull-down; 
		}; 
	};
};

&q6prm {
	status = "okay";
};

&q6apm {
	status = "okay";
};

&uart14 {
	status = "okay";

	bluetooth {
		compatible = "qcom,wcn7850-bt";

		local-bd-address = [ c2 59 96 e0 ca 00 ];

		vddrfacmn-supply = <&vreg_pmu_rfa_cmn>;
		vddaon-supply = <&vreg_pmu_aon_0p59>;
		vddwlcx-supply = <&vreg_pmu_wlcx_0p8>;
		vddwlmx-supply = <&vreg_pmu_wlmx_0p85>;
		vddrfa0p8-supply = <&vreg_pmu_rfa_0p8>;
		vddrfa1p2-supply = <&vreg_pmu_rfa_1p2>;
		vddrfa1p8-supply = <&vreg_pmu_rfa_1p8>;

		max-speed = <3200000>;
	};
};

&ufs_mem_hc {
	reset-gpios = <&tlmm 210 GPIO_ACTIVE_LOW>;
	vcc-supply = <&vreg_l17b_2p5>;
	vcc-max-microamp = <1300000>;
	vccq-supply = <&vreg_l1g_1p2>;
	vccq-max-microamp = <1200000>;
	vdd-hba-supply = <&vreg_l3g_1p2>;

	status = "okay";
};

&ufs_mem_phy {
	vdda-phy-supply = <&vreg_l1d_0p88>;
	vdda-pll-supply = <&vreg_l3e_1p2>;

	status = "okay";
};

&usb_1 {
	status = "okay";
};

&usb_1_dwc3_hs {
	remote-endpoint = <&pmic_glink_hs_in>;
};

&usb_1_hsphy {
	vdd-supply = <&vreg_l1e_0p88>;
	vdda12-supply = <&vreg_l3e_1p2>;

	phys = <&pm8550b_eusb2_repeater>;
	status = "okay";
};

&usb_dp_qmpphy {
	vdda-phy-supply = <&vreg_l3e_1p2>;
	vdda-pll-supply = <&vreg_l3f_0p91>;

	status = "okay";
};

&usb_dp_qmpphy_out {
	remote-endpoint = <&pmic_glink_ss_in>;
};

&videocc {
	power-domains = <&rpmhpd SM8550_MXC>;
};

&sleep_clk {
	clock-frequency = <32764>;
};

&xo_board {
	clock-frequency = <76800000>;
};
